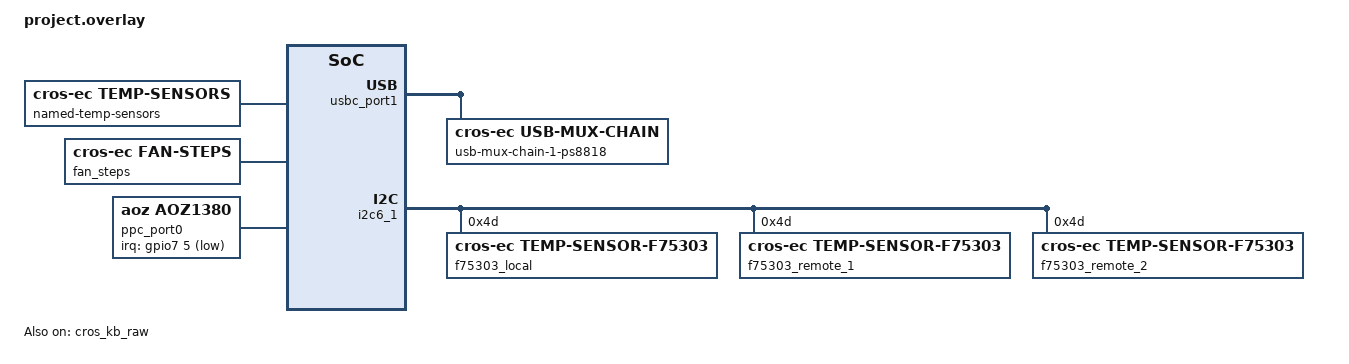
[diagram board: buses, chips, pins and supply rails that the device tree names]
/* Copyright 2022 The ChromiumOS Authors
 * Use of this source code is governed by a BSD-style license that can be
 * found in the LICENSE file.
 */

/* Skyrim program common DTS includes */
#include "../adc.dtsi"
#include "../fan.dtsi"
#include "../gpio.dtsi"
#include "../i2c.dtsi"
#include "../interrupts.dtsi"
#include "../keyboard.dtsi"
#include "../usbc.dtsi"

/* Markarth project DTS includes*/
#include "led_pins.dtsi"
#include "led_policy.dtsi"
#include "motionsense.dtsi"

/* Markarth overrides follow... */
/ {
	/* battery overrides */
	batteries {
		default_battery: lgc_ap19b8m-2 {
			compatible = "lgc,ap19b8m", "battery-smart";
		};
		cosmx_ap20cbl-3 {
			compatible = "cosmx,ap20cbl-4", "battery-smart";
		};
		lges_ap23a8l {
			compatible = "lges,ap23a8l", "battery-smart";
		};
	};

	named-gpios {
		/* Markarth-specific GPIO customizations */
		gpio_usb_c0_bc12_int_odl: usb_c0_bc12_int_odl {
			gpios = <&gpioa 4 GPIO_INPUT>;
			enum-name = "GPIO_USB_C0_BC12_INT_ODL";
		};
		gpio_usb_c1_bc12_int_odl: usb_c1_bc12_int_odl {
			gpios = <&gpio9 6 GPIO_INPUT>;
			enum-name = "GPIO_USB_C1_BC12_INT_ODL";
		};
	};

	gpio-interrupts {
		int_lid_accel: lid_accel {
			irq-pin = <&gpio_lid_accel_int_l>;
			flags = <GPIO_INT_EDGE_FALLING>;
			handler = "bma4xx_interrupt";
		};
	};

	/* gpio-interrupts overrides */
	gpio-interrupts {
		/delete-node/ usb_c0_bc12;
		/delete-node/ usb_c1_bc12;
	};

	named-temp-sensors {
		compatible = "cros-ec,temp-sensors";
		temp_f75303_local: f75303-local {
			power-good-pin = <&gpio_pg_pwr_s5>;
			sensor = <&f75303_local>;
		};
		temp_f75303_remote_1: f75303-remote-1 {
			power-good-pin = <&gpio_pg_pwr_s5>;
			sensor = <&f75303_remote_1>;
		};
		temp_f75303_remote_2: f75303-remote-2 {
			power-good-pin = <&gpio_pg_pwr_s5>;
			sensor = <&f75303_remote_2>;
		};
	};

	fan_steps: fan-step {
		compatible = "cros-ec,fan-steps";
		level_0 {
			temp_on = <(-1) (-1) 75 (-1) 30 (-1)>;
			temp_off = <(-1) (-1) 99 (-1) 99 (-1)>;
			rpm_target = <0>;
		};
		level_1 {
			temp_on = <(-1) (-1) 75 (-1) 35 (-1)>;
			temp_off = <(-1) (-1) 99 (-1) 32 (-1)>;
			rpm_target = <2200>;
		};
		level_2 {
			temp_on = <(-1) (-1) 75 (-1) 40 (-1)>;
			temp_off = <(-1) (-1) 99 (-1) 37 (-1)>;
			rpm_target = <2400>;
		};
		level_3 {
			temp_on = <(-1) (-1) 75 (-1) 43 (-1)>;
			temp_off = <(-1) (-1) 99 (-1) 41 (-1)>;
			rpm_target = <2700>;
		};
		level_4 {
			temp_on = <(-1) (-1) 75 (-1) 46 (-1)>;
			temp_off = <(-1) (-1) 99 (-1) 44 (-1)>;
			rpm_target = <3000>;
		};
		level_5 {
			temp_on = <(-1) (-1) 95 (-1) 50 (-1)>;
			temp_off = <(-1) (-1) 90 (-1) 48 (-1)>;
			rpm_target = <3300>;
		};
	};

	/*
	 * Note this is expected to vary per-board, so we keep it in the overlay
	 * files.
	 */
	markarth-fw-config {
		compatible = "cros-ec,cbi-fw-config";

		form-factor {
			enum-name = "FW_FORM_FACTOR";
			start = <0>;
			size = <1>;

			ff-clamshell {
				compatible = "cros-ec,cbi-fw-config-value";
				enum-name = "FW_FF_CLAMSHELL";
				value = <0>;
			};
			ff-convertible {
				compatible = "cros-ec,cbi-fw-config-value";
				enum-name = "FW_FF_CONVERTIBLE";
				value = <1>;
				default;
			};
		};

		/*
		 * FW_CONFIG field to enable KB back light or not.
		 */
		kb-bl {
			enum-name = "FW_KB_BL";
			start = <1>;
			size = <1>;

			no-kb-bl {
				compatible = "cros-ec,cbi-fw-config-value";
				enum-name = "FW_KB_BL_NOT_PRESENT";
				value = <0>;
			};
			kb-bl-present {
				compatible = "cros-ec,cbi-fw-config-value";
				enum-name = "FW_KB_BL_PRESENT";
				value = <1>;
			};
		};

		/*
		 * FW_CONFIG field to set keyboard layout.
		 */
		keyboard {
			enum-name = "FW_KB_LAYOUT";
			start = <2>;
			size = <2>;

			keyboard-default {
				compatible = "cros-ec,cbi-fw-config-value";
				enum-name = "KEYBOARD_DEFAULT";
				value = <0>;
			};
			keyboard-ansi {
				compatible = "cros-ec,cbi-fw-config-value";
				enum-name = "KEYBOARD_ANSI";
				value = <1>;
			};
		};
	};

	/* Rotation matrices for motion sensors. */
	motionsense-rotation-ref {
		compatible = "cros-ec,motionsense-rotation-ref";
		lid_rot_ref: lid-rotation-ref {
			mat33 = <0 (-1) 0
				 1 0 0
				 0 0 1>;
		};

		base_rot_ref: base-rotation-ref {
			mat33 = <0 1 0
				 (-1) 0 0
				 0 0 1>;
		};
	};

	ppc_port0: aoz1380 {
		compatible = "aoz,aoz1380";
		status = "okay";
		/* a duplicate of the <&gpio_usb_c0_ppc_int_odl> node in
		 * "named-gpios". This is the Zephyr preferred style,
		 * the "named-gpios" node will be dealt with at a later date.
		 */
		irq-gpios = <&gpio7 5 GPIO_ACTIVE_LOW>;
	};
};

/* i2c overrides */
&i2c0_0 {
	/delete-node/ nx20p348x@71;
	/delete-node/ pi3usb9201@5f;
	/delete-node/ anx7483@3e;
};

&amd_fp6_port0 {
	board-set = "board_c0_amd_fp6_mux_set";
};

&i2c1_0 {
	/delete-node/ pi3usb9201@5f;
	/delete-node/ anx7483@3e;
};

&i2c4_1 {
	/delete-node/ isl9538@9;
};

/* usbc overrides */
&usbc_port0 {
	/delete-property/ bc12;
	/delete-property/ chg_alt;
	usb-mux-chain-0 {
		usb-muxes = <&amd_fp6_port0>;
	};
};

&usbc_port1 {
	/delete-property/ bc12;
	/delete-node/ usb-mux-chain-1-anx;
	/delete-node/ usb-mux-chain-1-ps;
	usb-mux-chain-1-ps8818 {
		compatible = "cros-ec,usb-mux-chain";
		usb-muxes = <&amd_fp6_port1 &ps8818_port1>;
	};
};

&i2c6_1 {
	/delete-node/ soc-pct2075@48;
	/delete-node/ amb-pct2075@4f;
	f75303_local: f75303-local@4d {
		compatible = "cros-ec,temp-sensor-f75303";
		reg = <0x4d>;
		temperature-type = "F75303_IDX_LOCAL";
	};
	f75303_remote_1: f75303-remote-1@4d {
		compatible = "cros-ec,temp-sensor-f75303";
		reg = <0x4d>;
		temperature-type = "F75303_IDX_REMOTE1";
	};
	f75303_remote_2: f75303-remote-2@4d {
		compatible = "cros-ec,temp-sensor-f75303";
		reg = <0x4d>;
		temperature-type = "F75303_IDX_REMOTE2";
	};
};

&i2c_sensor {
	/delete-node/ enum-names;
	enum-names = "I2C_PORT_THERMAL";
};

&cros_kb_raw {
	status = "okay";
	pinctrl-0 = <
		&ksi0_gp31
		&ksi1_gp30
		&ksi2_gp27
		&ksi3_gp26
		&ksi4_gp25
		&ksi5_gp24
		&ksi6_gp23
		&ksi7_gp22
		&kso00_gp21
		&kso01_gp20
		&kso03_gp16
		&kso04_gp15
		&kso05_gp14
		&kso06_gp13
		&kso07_gp12
		&kso08_gp11
		&kso09_gp10
		&kso10_gp07
		&kso11_gp06
		&kso12_gp05
	>;
};

&temp_sensor_cpu {
	temp_host_warn = <92>;
	temp_host_high = <95>;
	temp_host_halt = <100>;
	temp_host_release_warn = <91>;
	temp_host_release_high = <80>;
	temp_host_release_halt = <90>;
};

&temp_sensor_charger {
	/delete-property/ temp_host_high;
	/delete-property/ temp_host_halt;
	/delete-property/ temp_host_release_high;
	/delete-property/ temp_host_release_halt;
};

&temp_sensor_memory {
	/delete-property/ temp_host_high;
	/delete-property/ temp_host_halt;
	/delete-property/ temp_host_release_high;
	/delete-property/ temp_host_release_halt;
};

/* fan overrides */
&fan0 {
	pwms = <&pwm0 0 PWM_KHZ(25) PWM_POLARITY_NORMAL>;
	rpm_min = <2100>;
	rpm_start = <2400>;
	rpm_max = <4464>;
	rpm_deviation = <2>;
};
